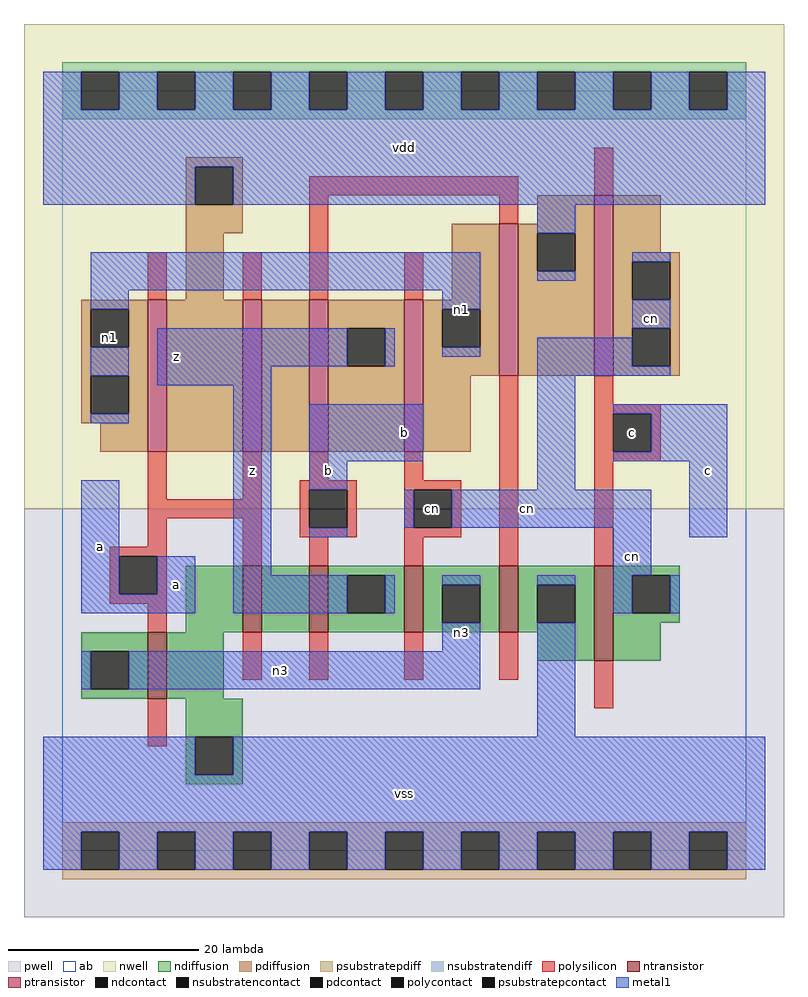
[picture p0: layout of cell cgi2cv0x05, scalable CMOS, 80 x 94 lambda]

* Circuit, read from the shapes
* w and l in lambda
.subckt cgi2cv0x05 a b c cn n1 n3 vdd vss z
M1 vss a n3 vss nfet w=7 l=2
M2 n2 a vss vss nfet w=7 l=2
M3 z b n2 vss nfet w=7 l=2
M4 n3 cn z vss nfet w=7 l=2
M5 vss b n3 vss nfet w=7 l=2
M6 cn c vss vss nfet w=10 l=2
M7 vdd a n1 vdd pfet w=16 l=2
M8 n4 a vdd vdd pfet w=16 l=2
M9 z b n4 vdd pfet w=16 l=2
M10 n1 cn z vdd pfet w=16 l=2
M11 vdd b n1 vdd pfet w=16 l=2
M12 cn c vdd vdd pfet w=19 l=2
.ends

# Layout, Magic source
magic
tech scmos
<< ab >>
rect 0 0 72 80
<< pwell >>
rect -4 -7 76 36
<< nwell >>
rect -4 36 76 87
<< polysilicon >>
rect 26 69 48 71
rect 56 69 58 74
rect 9 58 11 63
rect 19 58 21 63
rect 26 58 28 69
rect 46 66 48 69
rect 36 58 38 63
rect 9 37 11 42
rect 19 37 21 42
rect 26 39 28 42
rect 36 39 38 42
rect 9 35 21 37
rect 9 32 11 35
rect 5 31 11 32
rect 5 27 6 31
rect 10 27 11 31
rect 19 30 21 35
rect 25 38 31 39
rect 25 34 26 38
rect 30 34 31 38
rect 25 33 31 34
rect 36 38 42 39
rect 36 34 37 38
rect 41 34 42 38
rect 36 33 42 34
rect 26 30 28 33
rect 36 30 38 33
rect 46 30 48 50
rect 56 47 58 50
rect 56 46 63 47
rect 56 42 58 46
rect 62 42 63 46
rect 56 41 63 42
rect 56 30 58 41
rect 5 26 11 27
rect 9 23 11 26
rect 19 18 21 23
rect 26 18 28 23
rect 36 18 38 23
rect 46 18 48 23
rect 9 11 11 16
rect 56 15 58 20
<< ndiffusion >>
rect 13 23 19 30
rect 21 23 26 30
rect 28 29 36 30
rect 28 25 30 29
rect 34 25 36 29
rect 28 23 36 25
rect 38 28 46 30
rect 38 24 40 28
rect 44 24 46 28
rect 38 23 46 24
rect 48 28 56 30
rect 48 24 50 28
rect 54 24 56 28
rect 48 23 56 24
rect 2 21 9 23
rect 2 17 3 21
rect 7 17 9 21
rect 2 16 9 17
rect 11 16 17 23
rect 50 20 56 23
rect 58 29 65 30
rect 58 25 60 29
rect 64 25 65 29
rect 58 24 65 25
rect 58 20 63 24
rect 13 12 19 16
rect 13 8 14 12
rect 18 8 19 12
rect 13 7 19 8
<< pdiffusion >>
rect 13 72 19 73
rect 13 68 14 72
rect 18 68 19 72
rect 13 65 19 68
rect 13 58 17 65
rect 50 66 56 69
rect 41 58 46 66
rect 2 57 9 58
rect 2 53 3 57
rect 7 53 9 57
rect 2 50 9 53
rect 2 46 3 50
rect 7 46 9 50
rect 2 45 9 46
rect 4 42 9 45
rect 11 42 19 58
rect 21 42 26 58
rect 28 55 36 58
rect 28 51 30 55
rect 34 51 36 55
rect 28 42 36 51
rect 38 57 46 58
rect 38 53 40 57
rect 44 53 46 57
rect 38 50 46 53
rect 48 65 56 66
rect 48 61 50 65
rect 54 61 56 65
rect 48 50 56 61
rect 58 63 63 69
rect 58 62 65 63
rect 58 58 60 62
rect 64 58 65 62
rect 58 55 65 58
rect 58 51 60 55
rect 64 51 65 55
rect 58 50 65 51
rect 38 42 43 50
<< metal1 >>
rect -2 78 2 82
rect 6 78 10 82
rect 14 78 18 82
rect 22 78 26 82
rect 30 78 34 82
rect 38 78 42 82
rect 46 78 50 82
rect 54 78 58 82
rect 62 78 66 82
rect 70 78 74 82
rect -2 72 74 78
rect -2 68 14 72
rect 18 68 74 72
rect 50 65 54 68
rect 3 59 44 63
rect 50 60 54 61
rect 60 62 64 63
rect 3 57 7 59
rect 40 57 44 59
rect 3 50 7 53
rect 10 51 30 55
rect 34 51 35 55
rect 60 55 64 58
rect 40 52 44 53
rect 50 51 60 54
rect 10 49 22 51
rect 3 45 7 46
rect 2 27 6 39
rect 10 27 14 31
rect 2 25 14 27
rect 18 29 22 49
rect 50 50 64 51
rect 26 41 38 47
rect 26 38 30 41
rect 50 38 54 50
rect 58 46 70 47
rect 62 42 70 46
rect 58 41 70 42
rect 36 34 37 38
rect 41 34 62 38
rect 26 33 30 34
rect 58 29 62 34
rect 66 33 70 41
rect 18 25 30 29
rect 34 25 35 29
rect 40 28 44 29
rect 40 21 44 24
rect 2 17 3 21
rect 7 17 44 21
rect 50 28 54 29
rect 58 25 60 29
rect 64 25 65 29
rect 50 12 54 24
rect -2 8 14 12
rect 18 8 74 12
rect -2 2 74 8
rect -2 -2 2 2
rect 6 -2 10 2
rect 14 -2 18 2
rect 22 -2 26 2
rect 30 -2 34 2
rect 38 -2 42 2
rect 46 -2 50 2
rect 54 -2 58 2
rect 62 -2 66 2
rect 70 -2 74 2
<< ntransistor >>
rect 19 23 21 30
rect 26 23 28 30
rect 36 23 38 30
rect 46 23 48 30
rect 9 16 11 23
rect 56 20 58 30
<< ptransistor >>
rect 9 42 11 58
rect 19 42 21 58
rect 26 42 28 58
rect 36 42 38 58
rect 46 50 48 66
rect 56 50 58 69
<< polycontact >>
rect 6 27 10 31
rect 26 34 30 38
rect 37 34 41 38
rect 58 42 62 46
<< ndcontact >>
rect 30 25 34 29
rect 40 24 44 28
rect 50 24 54 28
rect 3 17 7 21
rect 60 25 64 29
rect 14 8 18 12
<< pdcontact >>
rect 14 68 18 72
rect 3 53 7 57
rect 3 46 7 50
rect 30 51 34 55
rect 40 53 44 57
rect 50 61 54 65
rect 60 58 64 62
rect 60 51 64 55
<< psubstratepcontact >>
rect 2 -2 6 2
rect 10 -2 14 2
rect 18 -2 22 2
rect 26 -2 30 2
rect 34 -2 38 2
rect 42 -2 46 2
rect 50 -2 54 2
rect 58 -2 62 2
rect 66 -2 70 2
<< nsubstratencontact >>
rect 2 78 6 82
rect 10 78 14 82
rect 18 78 22 82
rect 26 78 30 82
rect 34 78 38 82
rect 42 78 46 82
rect 50 78 54 82
rect 58 78 62 82
rect 66 78 70 82
<< psubstratepdiff >>
rect 0 2 72 3
rect 0 -2 2 2
rect 6 -2 10 2
rect 14 -2 18 2
rect 22 -2 26 2
rect 30 -2 34 2
rect 38 -2 42 2
rect 46 -2 50 2
rect 54 -2 58 2
rect 62 -2 66 2
rect 70 -2 72 2
rect 0 -3 72 -2
<< nsubstratendiff >>
rect 0 82 72 83
rect 0 78 2 82
rect 6 78 10 82
rect 14 78 18 82
rect 22 78 26 82
rect 30 78 34 82
rect 38 78 42 82
rect 46 78 50 82
rect 54 78 58 82
rect 62 78 66 82
rect 70 78 72 82
rect 0 77 72 78
<< labels >>
rlabel polycontact 39 36 39 36 6 cn
rlabel metal1 4 32 4 32 6 a
rlabel pdcontact 5 54 5 54 6 n1
rlabel metal1 12 28 12 28 6 a
rlabel metal1 20 40 20 40 6 z
rlabel metal1 12 52 12 52 6 z
rlabel metal1 36 6 36 6 6 vss
rlabel metal1 28 40 28 40 6 b
rlabel metal1 36 44 36 44 6 b
rlabel metal1 36 74 36 74 6 vdd
rlabel metal1 42 23 42 23 6 n3
rlabel metal1 23 19 23 19 6 n3
rlabel metal1 42 57 42 57 6 n1
rlabel metal1 60 31 60 31 6 cn
rlabel polycontact 60 44 60 44 6 c
rlabel metal1 49 36 49 36 6 cn
rlabel metal1 68 40 68 40 6 c
rlabel metal1 62 56 62 56 6 cn
<< end >>
